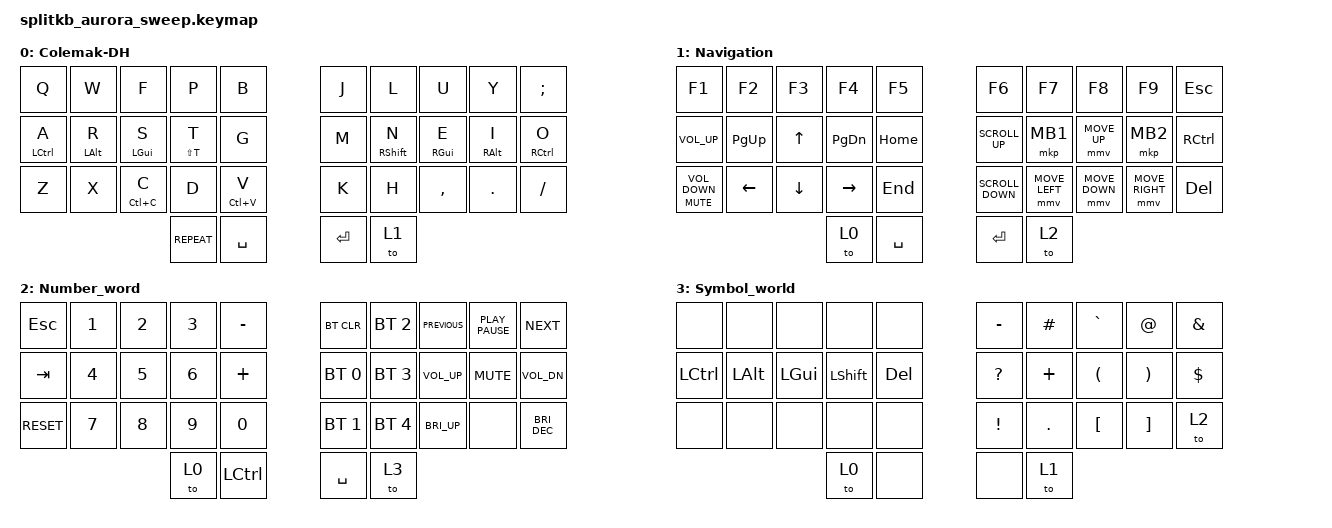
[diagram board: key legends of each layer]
/*
 * Copyright (c) 2022 The ZMK Contributors
 *
 * SPDX-License-Identifier: MIT
 */

#include <behaviors.dtsi>
#include <dt-bindings/zmk/bt.h>
#include <dt-bindings/zmk/keys.h>
#include <dt-bindings/zmk/mouse.h>

&mt {
    //  flavor = "tap-preferred";
    // tapping-term-ms = <200>;
};

/ {
    combos {
        compatible = "zmk,combos";

        combo_esc {
            timeout-ms = <50>;
            key-positions = <12 13 16 17>;
            bindings = <&kp ESC>;
        };

        combo_tab {
            timeout-ms = <50>;
            key-positions = <11 13>;
            bindings = <&kp TAB>;
        };

        combo_lalt {
            timeout-ms = <50>;
            key-positions = <11 12>;
            bindings = <&kp LALT>;
        };

        backspace {
            bindings = <&kp BACKSPACE>;
            key-positions = <10 11>;
        };

        numlayer {
            bindings = <&to 0>;
            key-positions = <12 17>;
        };
    };

    behaviors {
        hmr_l: hmr_l {
            compatible = "zmk,behavior-hold-tap";
            label = "HMR_L";
            bindings = <&none>, <&none>;

            #binding-cells = <2>;
            tapping-term-ms = <280>;
            quick-tap-ms = <175>;
            flavor = "balanced";
            require-prior-idle-ms = <0>;
            hold-trigger-key-positions = <0 3 4 10 11 12 13 14 20 21 22 23 24 30 31 1 2 32 33>;
            hold-trigger-on-release;
        };

        hrm_r: hrm_r {
            compatible = "zmk,behavior-hold-tap";
            label = "HRM_R";
            bindings = <&none>, <&none>;

            #binding-cells = <2>;
            tapping-term-ms = <280>;
            quick-tap-ms = <175>;
            hold-trigger-key-positions = <5 6 7 8 9 15 16 17 18 19 25 26 27 28 29 32 33 30 31>;
            flavor = "balanced";
            hold-trigger-on-release;
        };

        mouse_acceleration: mouse_acceleration {
            compatible = "zmk,behavior-mouse-move";
            label = "MOUSE_ACCELERATION";
            #binding-cells = <1>;
        };
    };

    keymap {
        compatible = "zmk,keymap";

        Colemak-DH {
            bindings = <
&kp Q         &kp W           &kp F           &kp P        &kp B          &kp J  &kp L              &kp U            &kp Y            &kp SEMICOLON
&mt LCTRL A   &mt LEFT_ALT R  &mt LEFT_GUI S  &mt LS(T) T  &kp G          &kp M  &mt RIGHT_SHIFT N  &mt RIGHT_GUI E  &mt RIGHT_ALT I  &mt RCTRL O
&kp Z         &kp X           &mt LC(C) C     &kp D        &mt LC(V) V    &kp K  &kp H              &kp COMMA        &kp DOT          &kp SLASH
&kp C_REPEAT  &kp SPACE                                                                                              &kp ENTER        &to 1
            >;
        };

        Navigation {
            bindings = <
&kp F1                    &kp F2          &kp F3        &kp F4         &kp F5      &kp F6             &kp F7          &kp F8          &kp F9           &kp ESC
&kp C_VOLUME_UP           &kp PAGE_UP     &kp UP_ARROW  &kp PAGE_DOWN  &kp HOME    &kp K_SCROLL_UP    &mkp MB1        &mmv MOVE_UP    &mkp MB2         &kp RCTRL
&mt K_MUTE C_VOLUME_DOWN  &kp LEFT_ARROW  &kp DOWN      &kp RIGHT      &kp END     &kp K_SCROLL_DOWN  &mmv MOVE_LEFT  &mmv MOVE_DOWN  &mmv MOVE_RIGHT  &kp DEL
&to 0                     &kp SPACE                                                                                                   &kp ENTER        &to 2
            >;
        };

        Number_word {
            bindings = <
&kp ESCAPE   &kp NUMBER_1  &kp NUMBER_2  &kp NUMBER_3  &kp MINUS    &bt BT_CLR    &bt BT_SEL 2  &kp K_PREVIOUS   &kp K_PLAY_PAUSE  &kp K_NEXT
&kp TAB      &kp NUMBER_4  &kp N5        &kp NUMBER_6  &kp PLUS     &bt BT_SEL 0  &bt BT_SEL 3  &kp C_VOLUME_UP  &kp K_MUTE        &kp C_VOL_DN
&kp C_RESET  &kp N7        &kp N8        &kp N9        &kp N0       &bt BT_SEL 1  &bt BT_SEL 4  &kp C_BRI_UP     &none             &kp C_BRI_DEC
&to 0        &kp LCTRL                                                                                           &kp SPACE         &to 3
            >;
        };

        Symbol_world {
            bindings = <
&none      &none         &none         &none           &none         &kp MINUS     &kp HASH  &kp GRAVE             &kp AT_SIGN            &kp AMPERSAND
&kp LCTRL  &kp LEFT_ALT  &kp LEFT_GUI  &kp LEFT_SHIFT  &kp DELETE    &kp QUESTION  &kp PLUS  &kp LEFT_PARENTHESIS  &kp RIGHT_PARENTHESIS  &kp DOLLAR
&none      &none         &none         &none           &none         &kp EXCL      &kp DOT   &kp LEFT_BRACKET      &kp RIGHT_BRACKET      &to 2
&to 0      &none                                                                                                   &none                  &to 1
            >;
        };
    };
};
